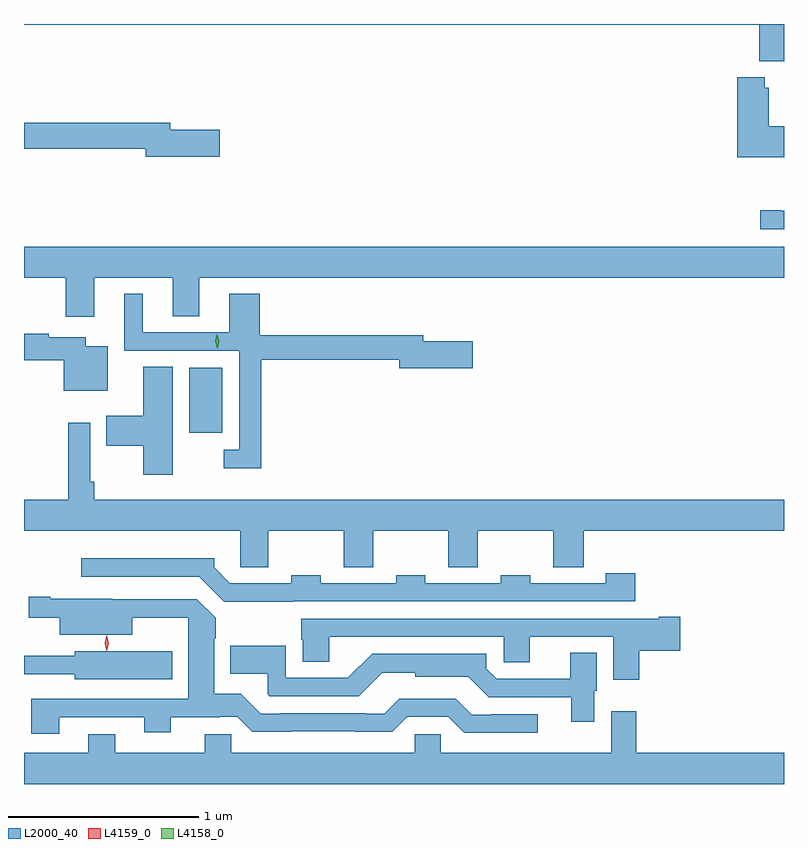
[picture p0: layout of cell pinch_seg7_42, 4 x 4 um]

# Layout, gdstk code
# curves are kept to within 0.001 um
import gdstk
lib = gdstk.Library(unit=1e-6, precision=1e-09)
def R(c, l, rs):  # rectangles x0, y0, x1, y1
    for r in rs: c.add(gdstk.rectangle(r[:2], r[2:], *l))
def P(c, l, *ps):  # polygons
    for p in ps: c.add(gdstk.Polygon(p, *l))
L2000_40 = (2000, 40)
L4158_0 = (4158, 0)
L4159_0 = (4159, 0)

pinch_seg7_42 = lib.new_cell('pinch_seg7_42')
R(pinch_seg7_42, L2000_40, [(1045.58,1079.72,1045.753,1080.064)])
P(pinch_seg7_42, L2000_40, [(1044.71,1081.868),(1048.58,1081.868),(1048.58,1081.676),(1048.71,1081.676),(1048.71,1081.872),(1044.71,1081.872)],
  [(1048.71,1081.335),(1048.63,1081.335),(1048.63,1081.537),(1048.608,1081.537),(1048.608,1081.591),(1048.463,1081.591),(1048.463,1081.172),(1048.71,1081.172)],
  [(1045.741,1081.316),(1045.48,1081.316),(1045.48,1081.352),(1044.71,1081.352),(1044.71,1081.216),(1045.352,1081.216),(1045.352,1081.174),(1045.741,1081.174)],
  [(1048.71,1080.888),(1048.696,1080.888),(1048.696,1080.893),(1048.584,1080.893),(1048.584,1080.792),(1048.71,1080.792)],
  [(1045.081,1080.536),(1045.493,1080.536),(1045.493,1080.334),(1045.633,1080.334),(1045.633,1080.536),(1048.71,1080.536),(1048.71,1080.7),(1044.71,1080.7),(1044.71,1080.536),(1044.929,1080.536),(1044.929,1080.33),(1045.081,1080.33)],
  [(1045.958,1080.106),(1046.684,1080.106),(1046.684,1080.059),(1047.073,1080.059),(1047.073,1080.201),(1046.812,1080.201),(1046.812,1080.235),(1045.952,1080.235),(1045.952,1080.451),(1045.79,1080.451),(1045.79,1080.249),(1045.336,1080.249),(1045.336,1080.451),(1045.238,1080.451),(1045.238,1080.153),(1045.842,1080.153),(1045.842,1079.631),(1045.761,1079.631),(1045.761,1079.534),(1045.958,1079.534)],
  [(1045.15,1080.175),(1045.036,1080.175),(1045.036,1080.223),(1044.84,1080.223),(1044.84,1080.243),(1044.71,1080.243),(1044.71,1080.101),(1044.92,1080.101),(1044.92,1079.942),(1045.15,1079.942)],
  [(1045.492,1080.068),(1045.337,1080.068),(1045.337,1079.809),(1045.144,1079.809),(1045.144,1079.651),(1045.337,1079.651),(1045.337,1079.499),(1045.492,1079.499)],
  [(1045.995,1079.204),(1046.392,1079.204),(1046.392,1079.014),(1046.547,1079.014),(1046.547,1079.204),(1046.944,1079.204),(1046.944,1079.014),(1047.099,1079.014),(1047.099,1079.204),(1047.496,1079.204),(1047.496,1079.014),(1047.656,1079.014),(1047.656,1079.204),(1048.71,1079.204),(1048.71,1079.368),(1045.079,1079.368),(1045.079,1079.464),(1045.059,1079.464),(1045.059,1079.773),(1044.943,1079.773),(1044.943,1079.368),(1044.71,1079.368),(1044.71,1079.204),(1045.848,1079.204),(1045.848,1079.014),(1045.995,1079.014)],
  [(1046.127,1078.833),(1047.928,1078.833),(1047.928,1078.981),(1047.772,1078.981),(1047.772,1078.929),(1047.375,1078.929),(1047.375,1078.972),(1047.22,1078.972),(1047.22,1078.929),(1046.823,1078.929),(1046.823,1078.972),(1046.668,1078.972),(1046.668,1078.929),(1046.271,1078.929),(1046.271,1078.972),(1046.116,1078.972),(1046.116,1078.929),(1045.794,1078.929),(1045.71,1079.013),(1045.71,1079.059),(1045.011,1079.059),(1045.011,1078.962),(1045.632,1078.962),(1045.764,1078.831),(1046.127,1078.831)],
  [(1044.895,1078.224),(1045.343,1078.224),(1045.343,1078.145),(1045.483,1078.145),(1045.483,1078.224),(1045.739,1078.224),(1045.739,1078.227),(1045.833,1078.227),(1045.912,1078.148),(1046.648,1078.148),(1046.727,1078.227),(1046.943,1078.227),(1047.027,1078.143),(1047.415,1078.143),(1047.415,1078.239),(1047.166,1078.239),(1047.166,1078.236),(1047.067,1078.236),(1046.982,1078.321),(1046.684,1078.321),(1046.605,1078.242),(1046.51,1078.242),(1046.51,1078.245),(1046.056,1078.245),(1046.056,1078.242),(1045.956,1078.242),(1045.85,1078.348),(1045.711,1078.348),(1045.711,1078.64),(1045.719,1078.64),(1045.719,1078.746),(1045.62,1078.845),(1044.847,1078.846),(1044.847,1078.858),(1044.735,1078.858),(1044.735,1078.748),(1044.899,1078.748),(1044.899,1078.658),(1045.279,1078.658),(1045.279,1078.748),(1045.574,1078.748),(1045.574,1078.32),(1044.748,1078.32),(1044.748,1078.137),(1044.895,1078.137)],
  [(1047.947,1078.574),(1048.165,1078.574),(1048.165,1078.752),(1048.052,1078.752),(1048.052,1078.743),(1046.17,1078.743),(1046.17,1078.632),(1046.177,1078.632),(1046.177,1078.516),(1046.317,1078.516),(1046.317,1078.647),(1047.234,1078.647),(1047.234,1078.512),(1047.373,1078.512),(1047.373,1078.647),(1047.812,1078.647),(1047.812,1078.422),(1047.947,1078.422)],
  [(1047.712,1078.362),(1047.724,1078.362),(1047.724,1078.562),(1047.584,1078.562),(1047.584,1078.425),(1047.198,1078.425),(1047.144,1078.479),(1047.144,1078.558),(1046.542,1078.558),(1046.415,1078.431),(1046.088,1078.431),(1046.088,1078.6),(1045.796,1078.6),(1045.796,1078.451),(1045.992,1078.451),(1045.992,1078.344),(1046.001,1078.335),(1046.472,1078.335),(1046.595,1078.458),(1046.769,1078.458),(1046.769,1078.436),(1047.048,1078.436),(1047.155,1078.329),(1047.59,1078.329),(1047.59,1078.2),(1047.712,1078.2)],
  [(1045.489,1078.57),(1044.978,1078.57),(1044.978,1078.547),(1044.71,1078.547),(1044.71,1078.449),(1044.978,1078.449),(1044.978,1078.424),(1045.489,1078.424)],
  [(1048.71,1078.036),(1047.932,1078.036),(1047.932,1078.255),(1047.8,1078.255),(1047.8,1078.036),(1046.904,1078.036),(1046.904,1078.134),(1046.766,1078.134),(1046.766,1078.036),(1045.8,1078.036),(1045.8,1078.134),(1045.661,1078.134),(1045.661,1078.036),(1045.189,1078.036),(1045.189,1078.135),(1045.049,1078.135),(1045.049,1078.036),(1044.71,1078.036),(1044.71,1077.872),(1048.71,1077.872)])
P(pinch_seg7_42, L4158_0, [(1045.728,1080.165),(1045.728,1080.165),(1045.717,1080.201),(1045.725,1080.237),(1045.726,1080.237),(1045.726,1080.237),(1045.737,1080.202),(1045.729,1080.165)])
P(pinch_seg7_42, L4159_0, [(1045.146,1078.573),(1045.146,1078.573),(1045.136,1078.613),(1045.146,1078.654),(1045.146,1078.654),(1045.146,1078.654),(1045.156,1078.613),(1045.146,1078.573)])

lib.write_gds('pinch_seg7_42.gds')
